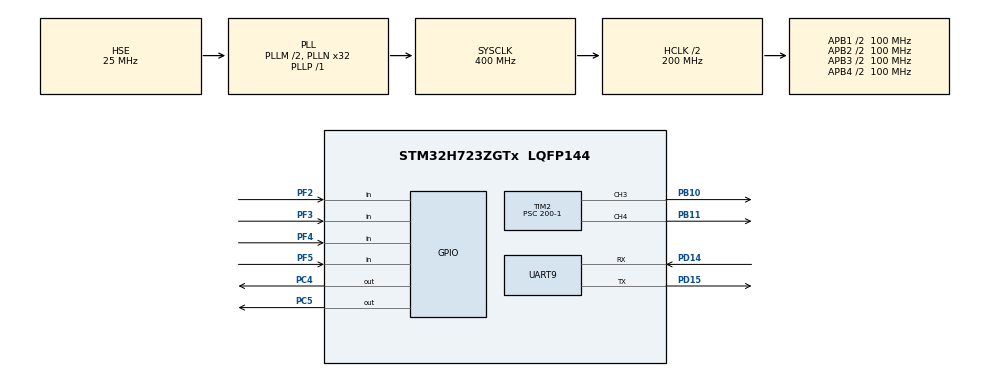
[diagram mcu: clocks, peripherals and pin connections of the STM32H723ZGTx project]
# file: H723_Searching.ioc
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Mcu.Family=STM32H7
Mcu.Name=STM32H723ZGTx
Mcu.Package=LQFP144
NVIC.PriorityGroup=NVIC_PRIORITYGROUP_4
NVIC.TIM6_DAC_IRQn=true\:1\:0\:true\:false\:true\:true\:true\:true
NVIC.UART9_IRQn=true\:0\:0\:true\:false\:true\:true\:true\:true
PA13(JTMS/SWDIO).Mode=Serial_Wire
PA13(JTMS/SWDIO).Signal=DEBUG_JTMS-SWDIO
PA14(JTCK/SWCLK).Mode=Serial_Wire
PA14(JTCK/SWCLK).Signal=DEBUG_JTCK-SWCLK
PB10.Signal=S_TIM2_CH3
PB11.Signal=S_TIM2_CH4
PC4.Signal=GPIO_Output
PC5.Signal=GPIO_Output
PD14.Mode=Asynchronous
PD14.Signal=UART9_RX
PD15.Mode=Asynchronous
PD15.Signal=UART9_TX
PF2.GPIO_PuPd=GPIO_PULLUP
PF2.Signal=GPIO_Input
PF3.GPIO_PuPd=GPIO_PULLUP
PF3.Signal=GPIO_Input
PF4.GPIO_PuPd=GPIO_PULLUP
PF4.Signal=GPIO_Input
PF5.GPIO_PuPd=GPIO_PULLUP
PF5.Signal=GPIO_Input
PH0-OSC_IN.Mode=HSE-External-Oscillator
PH0-OSC_IN.Signal=RCC_OSC_IN
PH1-OSC_OUT.Mode=HSE-External-Oscillator
PH1-OSC_OUT.Signal=RCC_OSC_OUT
ProjectManager.HeapSize=0x200
ProjectManager.StackSize=0x400
ProjectManager.TargetToolchain=MDK-ARM V5.32
RCC.ADCFreq_Value=100000000
RCC.APB1Freq_Value=100000000
RCC.APB2Freq_Value=100000000
RCC.APB3Freq_Value=100000000
RCC.APB4Freq_Value=100000000
RCC.CortexFreq_Value=400000000
RCC.D1PPRE=RCC_APB3_DIV2
RCC.D2PPRE1=RCC_APB1_DIV2
RCC.D2PPRE2=RCC_APB2_DIV2
RCC.D3PPRE=RCC_APB4_DIV2
RCC.DIVM1=2
RCC.DIVM2=2
RCC.DIVN1=32
RCC.DIVN2=16
RCC.DIVP1=1
RCC.HCLKFreq_Value=200000000
RCC.HPRE=RCC_HCLK_DIV2
RCC.PLL2FRACN=0
RCC.PLL3FRACN=0
RCC.PLLFRACN=0
RCC.PLLSourceVirtual=RCC_PLLSOURCE_HSE
RCC.SYSCLKFreq_VALUE=400000000
RCC.SYSCLKSource=RCC_SYSCLKSOURCE_PLLCLK
RCC.USBFreq_Value=200000000
SH.S_TIM2_CH3.0=TIM2_CH3,PWM Generation3 CH3
SH.S_TIM2_CH4.0=TIM2_CH4,PWM Generation4 CH4
TIM2.AutoReloadPreload=TIM_AUTORELOAD_PRELOAD_ENABLE
TIM2.Channel-PWM\ Generation3\ CH3=TIM_CHANNEL_3
TIM2.Channel-PWM\ Generation4\ CH4=TIM_CHANNEL_4
TIM2.Period=20000-1
TIM2.Prescaler=200-1
TIM6.Period=10000-1
TIM6.Prescaler=200-1
VP_TIM2_VS_ClockSourceINT.Mode=Internal
VP_TIM6_VS_ClockSourceINT.Mode=Enable_Timer
board=custom

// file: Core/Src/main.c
/* USER CODE BEGIN Header */
/**
  ******************************************************************************
  * @file           : main.c
  * @brief          : Main program body
  ******************************************************************************
  * @attention
  *
  * Copyright (c) 2025 STMicroelectronics.
  * All rights reserved.
  *
  * This software is licensed under terms that can be found in the LICENSE file
  * in the root directory of this software component.
  * If no LICENSE file comes with this software, it is provided AS-IS.
  *
  ******************************************************************************
  */
/* USER CODE END Header */
#include "main.h"

/* USER CODE BEGIN Includes */
#include "OLED.h"
#include "Serial.h"
#include "stdio.h"
#include "Delay.h"
#include "Servo.h"
#include "packet_parser.h"
#include "My_Interrupt.h"
#include "fuzzypid.h"
#include "IncrementalPID.h"
#include "menu.h"
/* USER CODE END Includes */

/* USER CODE BEGIN PD */
float my_kp = 0.64;
float my_ki = 0.03f;
float my_kd = 0.02;
float my_kp_x = 0.32;
float my_ki_x = 0.04f;
float my_kd_x = 0.02;

int16_t change_flag = 0;
/* USER CODE END PD */

TIM_HandleTypeDef htim2;
TIM_HandleTypeDef htim6;

UART_HandleTypeDef huart9;

/* USER CODE BEGIN PV */
#if 1
#if (__ARMCC_VERSION >= 6010050)
__asm(".global __use_no_semihosting\n\t");
__asm(".global __ARM_use_no_argv \n\t");

#else
#pragma import(__use_no_semihosting)

struct __FILE
{
    int handle;

};

#endif

int _ttywrch(int ch)
{
    ch = ch;
    return ch;
}

void _sys_exit(int x)
{
    x = x;
}

char *_sys_command_string(char *cmd, int len)
{
    return NULL;
}

FILE __stdout;

int fputc(int ch, FILE *f) {
    HAL_UART_Transmit(&huart9, (uint8_t *)&ch, 1, HAL_MAX_DELAY);
    return ch;
}
#endif
/* USER CODE END PV */

void SystemClock_Config(void);
static void MX_GPIO_Init(void);
static void MX_TIM2_Init(void);
static void MX_TIM6_Init(void);
static void MX_UART9_Init(void);

int main(void)
{

  /* MCU Configuration--------------------------------------------------------*/

  /* Reset of all peripherals, Initializes the Flash interface and the Systick. */
  HAL_Init();

  /* Configure the system clock */
  SystemClock_Config();

  /* Initialize all configured peripherals */
  MX_GPIO_Init();
  MX_TIM2_Init();
  MX_TIM6_Init();
  MX_UART9_Init();
  /* USER CODE BEGIN 2 */
  DWT_Init();

  HAL_TIM_PWM_Start(&htim2, TIM_CHANNEL_3);//x
  HAL_TIM_PWM_Start(&htim2, TIM_CHANNEL_4);//y
  Servo_Init(&htim2,TIM_CHANNEL_3,TIM_CHANNEL_4);
  //串口
  Delay_ms(500);
  UART_StartReceiveIT();
  Packet_t received_packet;
  OLED_Init();
  OLED_Clear();
  Delay_ms(100);
  //中断
  HAL_TIM_Base_Start_IT(&htim6);

  init_menu();

  /* USER CODE END 2 */

  /* Infinite loop */
  /* USER CODE BEGIN WHILE */
  int16_t Key_index = 0;

  init_all_pid_new();//标准PID

  //增量式PID
  /*******获取目标点位(start)*******/
  // //等待串口数据
  // while (blue_brick.x+blue_brick.y==0)
  // {
  //   /* code */
  //   OLED_ShowString(0,0,"waiting",OLED_8X16);
  //   OLED_Update();
  //   if (UART_GetPacket(&received_packet)) {
  //       ParsePacket((char*)received_packet.data);
  //   }
  // }
  // OLED_Clear();

  while (1)
  {
    /* USER CODE END WHILE */

    /* USER CODE BEGIN 3 */
    OLED_Clear();
    // OLED_ShowNum(0, 0*16, uwTick, 8,OLED_8X16);

    if (UART_GetPacket(&received_packet)) {
        // 处理完整数据包（如转发或解析
        //HAL_UART_Transmit(&huart9, received_packet.data, received_packet.length, HAL_MAX_DELAY);
        ParsePacket((char*)received_packet.data);

    }

    // get_menu_action();//该函数会清楚标志位
    cl_action  = get_menu_action();

    //模式1调节x的PID参数
    if(mode_inter_flag==0){
          current_menu = menu_navigate(current_menu,cl_action);
          OLED_DrawMenu(current_menu);

    }else{
      switch (current_menu->id)
      {
        /*******id为0的菜单（start）**********/
        case 0:
          switch (cl_action)
          {
            case 0:
                change_flag += 1;
                change_flag = (change_flag >= 3) ? 0 : change_flag;  // 0→1→2→0...
            break;
            case 1:
              switch (change_flag) {
                case 0: my_kp_x -= 0.01; break;
                case 1: my_ki_x -= 0.01; break;
                case 2: my_kd_x -= 0.01; break;
                default: break;
              }
            break;
            case 2:
              switch (change_flag) {
                  case 0: my_kp_x += 0.01; break;
                  case 1: my_ki_x += 0.01; break;
                  case 2: my_kd_x += 0.01; break;
                  default: break;
              }
            break;
            case 3:
              //菜单标志位置0，返回菜单选择
              mode_inter_flag = 0;

            default:
            break;
          }
        /**********可视化部分(start)************/
          OLED_ShowString(0,0,"clock:",OLED_6X8);
          OLED_ShowNum(8*6,0*8,uwTick,8,OLED_6X8);

          OLED_ShowString(0,1*8,"blue:",OLED_6X8);
          OLED_ShowNum(8*6,1*8,blue_brick.x,3,OLED_6X8);
          OLED_ShowNum(8*6+3*8+2,1*8,blue_brick.y,3,OLED_6X8);

          OLED_ShowString(0,2*8,"I:",OLED_6X8);
          OLED_ShowFloatNum(8*6,2*8,pid_y.integral,5,5,OLED_6X8);
          // OLED_ShowNum(8*6+3*8+2,2*8,incr_pid_x.integral,3,OLED_6X8);

          OLED_ShowString(0,3*8,"x_pid_out:",OLED_6X8);
          OLED_ShowFloatNum(8*6+8,3*8,pid_x.output,4,2,OLED_6X8);

          OLED_ShowString(0,4*8,"y_pid_out:",OLED_6X8);
          OLED_ShowFloatNum(8*6+8,4*8,pid_y.output,4,2,OLED_6X8);

          OLED_ShowString(0,5*8,"x_rang:",OLED_6X8);
          OLED_ShowString(0,6*8,"change_index:",OLED_6X8);
          OLED_ShowNum(3*8+4*8+4*8,6*8,change_flag,1,OLED_6X8);

          OLED_ShowString(0,7*8,"pid:",OLED_6X8);
          OLED_ShowFloatNum(3*8,7*8,pid_x.Kp,1,2,OLED_6X8);
          OLED_ShowFloatNum(3*8+4*8,7*8,pid_x.Ki,1,4,OLED_6X8);
          OLED_ShowFloatNum(3*8+4*8+6*8,7*8,pid_x.Kd,1,2,OLED_6X8);

          set_pid_index(&pid_x,my_kp_x,my_kd_x,my_ki_x,0.01);
          set_pid_index(&pid_y,my_kp_x,my_kd,my_ki,0.01);
        /**********可视化部分(end)************/

        break;
      /*******id为0的菜单（end）**********/
        default:
          break;
      }

    }

    // OLED_ShowString(0,3*16,current_menu->name,OLED_8X16);
    // OLED_ShowNum(0,2*16,temp,2,OLED_8X16);

    /**********按键(start)*************/
// for (int i = 0; i < KEY_NUM; i++) {
//     if (keys[i].short_press_flag == 1) {
//         switch (i) {
//             case 0:  // 按键0：切换修改对象
//                 change_flag += 1;
//                 change_flag = (change_flag >= 3) ? 0 : change_flag;  // 0→1→2→0...
//                 keys[i].short_press_flag = KEY_RELEASED;
//                 break;

//             case 1:  // 按键1：减
//                 switch (change_flag) {
//                     case 0: my_kp -= 0.01; break;
//                     case 1: my_ki -= 0.01; break;
//                     case 2: my_kd -= 0.01; break;
//                     default: break;
//                 }
//                 keys[i].short_press_flag = KEY_RELEASED;
//                 break;

//             case 2:  // 按键2：加
//                 switch (change_flag) {
//                     case 0: my_kp += 0.01; break;
//                     case 1: my_ki += 0.01; break;
//                     case 2: my_kd += 0.01; break;
//                     default: break;
//                 }
//                 keys[i].short_press_flag = KEY_RELEASED;
//                 break;

//             case 3:  // 按键3：不操作（原代码 target_point.y+=10 被移除）
//                 keys[i].short_press_flag = KEY_RELEASED;
//                 break;

//             default:
//                 break;
//         }
//     }
// }

    /**********按键(end)*************/

    // if(green_point.x!=999&&green_point.y!=999){
    //   x_move = green_point.x - target_point.x;
    //   y_move = green_point.y - target_point.y;
    // }else{
    //   x_move = y_move = 0;
    // }

    /*******获取目标点位(end)*********/
    // Onto.x = 1500 + 200*sin((float)uwTick/1000.0);
    // Onto.y = 1500 + 200*cos((float)uwTick/1000.0);
    // __HAL_TIM_SET_COMPARE(&htim2,TIM_CHANNEL_3,y_angle-1*pid_y.output);
    // __HAL_TIM_SET_COMPARE(&htim2,TIM_CHANNEL_4,x_angle-1*pid_x.output);
    // __HAL_TIM_SET_COMPARE(&htim2,TIM_CHANNEL_3,1500+pid_x.output);
    // __HAL_TIM_SET_COMPARE(&htim2,TIM_CHANNEL_4,1500+pid_y.output);

    // OLED_ShowString(0,0,"clock:",OLED_6X8);
    // OLED_ShowNum(8*6,0*8,uwTick,8,OLED_6X8);

    // OLED_ShowString(0,1*8,"blue:",OLED_6X8);
    // OLED_ShowNum(8*6,1*8,blue_brick.x,3,OLED_6X8);
    // OLED_ShowNum(8*6+3*8+2,1*8,blue_brick.y,3,OLED_6X8);

    // OLED_ShowString(0,2*8,"I:",OLED_6X8);
    // OLED_ShowFloatNum(8*6,2*8,pid_y.integral,5,5,OLED_6X8);
    // // OLED_ShowNum(8*6+3*8+2,2*8,incr_pid_x.integral,3,OLED_6X8);

    // OLED_ShowString(0,3*8,"x_pid_out:",OLED_6X8);
    // OLED_ShowFloatNum(8*6+8,3*8,pid_x.output,4,2,OLED_6X8);

    // OLED_ShowString(0,4*8,"y_pid_out:",OLED_6X8);
    // OLED_ShowFloatNum(8*6+8,4*8,pid_y.output,4,2,OLED_6X8);

    // OLED_ShowString(0,5*8,"x_rang:",OLED_6X8);
    // OLED_ShowString(0,6*8,"change_index:",OLED_6X8);
    // OLED_ShowNum(3*8+4*8+4*8,6*8,change_flag,1,OLED_6X8);

    // OLED_ShowString(0,7*8,"pid:",OLED_6X8);
    // OLED_ShowFloatNum(3*8,7*8,pid_x.Kp,1,2,OLED_6X8);
    // OLED_ShowFloatNum(3*8+4*8,7*8,pid_x.Ki,1,4,OLED_6X8);
    // OLED_ShowFloatNum(3*8+4*8+6*8,7*8,pid_x.Kd,1,2,OLED_6X8);

    // set_pid_index(&pid_x,my_kp_x,my_kd_x,my_ki_x,0.01);
    // set_pid_index(&pid_y,my_kp,my_kd,my_ki,0.01);

    OLED_Update();
    Delay_ms(200);
  }
  /* USER CODE END 3 */
}

void SystemClock_Config(void)
{
  RCC_OscInitTypeDef RCC_OscInitStruct = {0};
  RCC_ClkInitTypeDef RCC_ClkInitStruct = {0};

  /** Supply configuration update enable
  */
  HAL_PWREx_ConfigSupply(PWR_LDO_SUPPLY);

  /** Configure the main internal regulator output voltage
  */
  __HAL_PWR_VOLTAGESCALING_CONFIG(PWR_REGULATOR_VOLTAGE_SCALE1);

  while(!__HAL_PWR_GET_FLAG(PWR_FLAG_VOSRDY)) {}

  /** Initializes the RCC Oscillators according to the specified parameters
  * in the RCC_OscInitTypeDef structure.
  */
  RCC_OscInitStruct.OscillatorType = RCC_OSCILLATORTYPE_HSE;
  RCC_OscInitStruct.HSEState = RCC_HSE_ON;
  RCC_OscInitStruct.PLL.PLLState = RCC_PLL_ON;
  RCC_OscInitStruct.PLL.PLLSource = RCC_PLLSOURCE_HSE;
  RCC_OscInitStruct.PLL.PLLM = 2;
  RCC_OscInitStruct.PLL.PLLN = 32;
  RCC_OscInitStruct.PLL.PLLP = 1;
  RCC_OscInitStruct.PLL.PLLQ = 2;
  RCC_OscInitStruct.PLL.PLLR = 2;
  RCC_OscInitStruct.PLL.PLLRGE = RCC_PLL1VCIRANGE_3;
  RCC_OscInitStruct.PLL.PLLVCOSEL = RCC_PLL1VCOWIDE;
  RCC_OscInitStruct.PLL.PLLFRACN = 0;
  if (HAL_RCC_OscConfig(&RCC_OscInitStruct) != HAL_OK)
  {
    Error_Handler();
  }

  /** Initializes the CPU, AHB and APB buses clocks
  */
  RCC_ClkInitStruct.ClockType = RCC_CLOCKTYPE_HCLK|RCC_CLOCKTYPE_SYSCLK
                              |RCC_CLOCKTYPE_PCLK1|RCC_CLOCKTYPE_PCLK2
                              |RCC_CLOCKTYPE_D3PCLK1|RCC_CLOCKTYPE_D1PCLK1;
  RCC_ClkInitStruct.SYSCLKSource = RCC_SYSCLKSOURCE_PLLCLK;
  RCC_ClkInitStruct.SYSCLKDivider = RCC_SYSCLK_DIV1;
  RCC_ClkInitStruct.AHBCLKDivider = RCC_HCLK_DIV2;
  RCC_ClkInitStruct.APB3CLKDivider = RCC_APB3_DIV2;
  RCC_ClkInitStruct.APB1CLKDivider = RCC_APB1_DIV2;
  RCC_ClkInitStruct.APB2CLKDivider = RCC_APB2_DIV2;
  RCC_ClkInitStruct.APB4CLKDivider = RCC_APB4_DIV2;

  if (HAL_RCC_ClockConfig(&RCC_ClkInitStruct, FLASH_LATENCY_2) != HAL_OK)
  {
    Error_Handler();
  }
}

static void MX_TIM2_Init(void)
{

  TIM_ClockConfigTypeDef sClockSourceConfig = {0};
  TIM_MasterConfigTypeDef sMasterConfig = {0};
  TIM_OC_InitTypeDef sConfigOC = {0};

  htim2.Instance = TIM2;
  htim2.Init.Prescaler = 200-1;
  htim2.Init.CounterMode = TIM_COUNTERMODE_UP;
  htim2.Init.Period = 20000-1;
  htim2.Init.ClockDivision = TIM_CLOCKDIVISION_DIV1;
  htim2.Init.AutoReloadPreload = TIM_AUTORELOAD_PRELOAD_ENABLE;
  if (HAL_TIM_Base_Init(&htim2) != HAL_OK)
  {
    Error_Handler();
  }
  sClockSourceConfig.ClockSource = TIM_CLOCKSOURCE_INTERNAL;
  if (HAL_TIM_ConfigClockSource(&htim2, &sClockSourceConfig) != HAL_OK)
  {
    Error_Handler();
  }
  if (HAL_TIM_PWM_Init(&htim2) != HAL_OK)
  {
    Error_Handler();
  }
  sMasterConfig.MasterOutputTrigger = TIM_TRGO_RESET;
  sMasterConfig.MasterSlaveMode = TIM_MASTERSLAVEMODE_DISABLE;
  if (HAL_TIMEx_MasterConfigSynchronization(&htim2, &sMasterConfig) != HAL_OK)
  {
    Error_Handler();
  }
  sConfigOC.OCMode = TIM_OCMODE_PWM1;
  sConfigOC.Pulse = 0;
  sConfigOC.OCPolarity = TIM_OCPOLARITY_HIGH;
  sConfigOC.OCFastMode = TIM_OCFAST_DISABLE;
  if (HAL_TIM_PWM_ConfigChannel(&htim2, &sConfigOC, TIM_CHANNEL_3) != HAL_OK)
  {
    Error_Handler();
  }
  if (HAL_TIM_PWM_ConfigChannel(&htim2, &sConfigOC, TIM_CHANNEL_4) != HAL_OK)
  {
    Error_Handler();
  }
  HAL_TIM_MspPostInit(&htim2);

}

static void MX_TIM6_Init(void)
{

  TIM_MasterConfigTypeDef sMasterConfig = {0};

  htim6.Instance = TIM6;
  htim6.Init.Prescaler = 200-1;
  htim6.Init.CounterMode = TIM_COUNTERMODE_UP;
  htim6.Init.Period = 10000-1;
  htim6.Init.AutoReloadPreload = TIM_AUTORELOAD_PRELOAD_DISABLE;
  if (HAL_TIM_Base_Init(&htim6) != HAL_OK)
  {
    Error_Handler();
  }
  sMasterConfig.MasterOutputTrigger = TIM_TRGO_RESET;
  sMasterConfig.MasterSlaveMode = TIM_MASTERSLAVEMODE_DISABLE;
  if (HAL_TIMEx_MasterConfigSynchronization(&htim6, &sMasterConfig) != HAL_OK)
  {
    Error_Handler();
  }

}

static void MX_UART9_Init(void)
{

  huart9.Instance = UART9;
  huart9.Init.BaudRate = 115200;
  huart9.Init.WordLength = UART_WORDLENGTH_8B;
  huart9.Init.StopBits = UART_STOPBITS_1;
  huart9.Init.Parity = UART_PARITY_NONE;
  huart9.Init.Mode = UART_MODE_TX_RX;
  huart9.Init.HwFlowCtl = UART_HWCONTROL_NONE;
  huart9.Init.OverSampling = UART_OVERSAMPLING_16;
  huart9.Init.OneBitSampling = UART_ONE_BIT_SAMPLE_DISABLE;
  huart9.Init.ClockPrescaler = UART_PRESCALER_DIV1;
  huart9.AdvancedInit.AdvFeatureInit = UART_ADVFEATURE_NO_INIT;
  if (HAL_UART_Init(&huart9) != HAL_OK)
  {
    Error_Handler();
  }
  if (HAL_UARTEx_SetTxFifoThreshold(&huart9, UART_TXFIFO_THRESHOLD_1_8) != HAL_OK)
  {
    Error_Handler();
  }
  if (HAL_UARTEx_SetRxFifoThreshold(&huart9, UART_RXFIFO_THRESHOLD_1_8) != HAL_OK)
  {
    Error_Handler();
  }
  if (HAL_UARTEx_DisableFifoMode(&huart9) != HAL_OK)
  {
    Error_Handler();
  }

}

static void MX_GPIO_Init(void)
{
  GPIO_InitTypeDef GPIO_InitStruct = {0};

  /* GPIO Ports Clock Enable */
  __HAL_RCC_GPIOF_CLK_ENABLE();
  __HAL_RCC_GPIOH_CLK_ENABLE();
  __HAL_RCC_GPIOC_CLK_ENABLE();
  __HAL_RCC_GPIOB_CLK_ENABLE();
  __HAL_RCC_GPIOD_CLK_ENABLE();
  __HAL_RCC_GPIOA_CLK_ENABLE();

  /*Configure GPIO pin Output Level */
  HAL_GPIO_WritePin(GPIOC, GPIO_PIN_4|GPIO_PIN_5, GPIO_PIN_RESET);

  /*Configure GPIO pins : PF2 PF3 PF4 PF5 */
  GPIO_InitStruct.Pin = GPIO_PIN_2|GPIO_PIN_3|GPIO_PIN_4|GPIO_PIN_5;
  GPIO_InitStruct.Mode = GPIO_MODE_INPUT;
  GPIO_InitStruct.Pull = GPIO_PULLUP;
  HAL_GPIO_Init(GPIOF, &GPIO_InitStruct);

  /*Configure GPIO pins : PC4 PC5 */
  GPIO_InitStruct.Pin = GPIO_PIN_4|GPIO_PIN_5;
  GPIO_InitStruct.Mode = GPIO_MODE_OUTPUT_PP;
  GPIO_InitStruct.Pull = GPIO_NOPULL;
  GPIO_InitStruct.Speed = GPIO_SPEED_FREQ_LOW;
  HAL_GPIO_Init(GPIOC, &GPIO_InitStruct);

}

void Error_Handler(void)
{
  __disable_irq();
  while (1)
  {
  }
}
